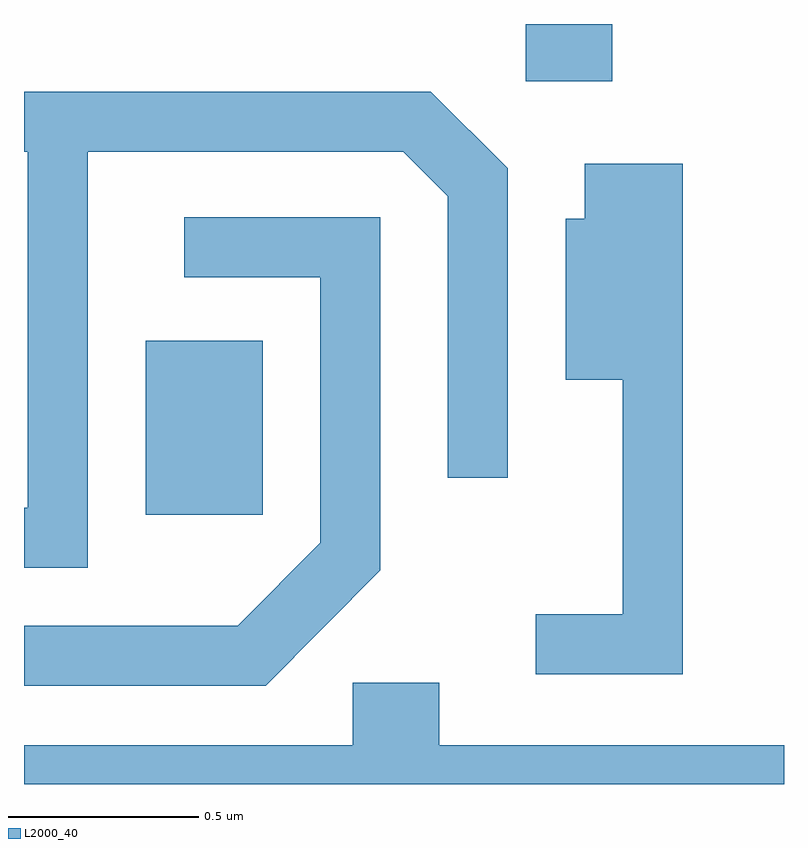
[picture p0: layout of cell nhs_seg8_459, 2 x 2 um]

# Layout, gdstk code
import gdstk
lib = gdstk.Library(unit=1e-6, precision=1e-09)
def R(c, l, rs):  # rectangles x0, y0, x1, y1
    for r in rs: c.add(gdstk.rectangle(r[:2], r[2:], *l))
def P(c, l, *ps):  # polygons
    for p in ps: c.add(gdstk.Polygon(p, *l))
L2000_40 = (2000, 40)

nhs_seg8_459 = lib.new_cell('nhs_seg8_459')
R(nhs_seg8_459, L2000_40, [(188.931,1855.051,189.239,1855.509), (189.931,1856.191,190.159,1856.342)])
P(nhs_seg8_459, L2000_40, [(188.779,1856.006),(189.609,1856.006),(189.726,1855.889),(189.726,1855.148),(189.884,1855.148),(189.884,1855.962),(189.682,1856.164),(188.611,1856.164),(188.611,1856.006),(188.621,1856.006),(188.621,1855.069),(188.611,1855.069),(188.611,1854.911),(188.779,1854.911)],
  [(190.344,1855.974),(190.086,1855.974),(190.086,1855.829),(190.036,1855.829),(190.036,1855.406),(190.186,1855.406),(190.186,1854.789),(189.958,1854.789),(189.958,1854.631),(190.344,1854.631)],
  [(189.549,1854.904),(189.549,1855.834),(189.033,1855.834),(189.033,1855.676),(189.391,1855.676),(189.391,1854.977),(189.174,1854.759),(188.611,1854.759),(188.611,1854.601),(189.247,1854.601)],
  [(190.611,1854.444),(189.704,1854.444),(189.704,1854.609),(189.476,1854.609),(189.476,1854.444),(188.611,1854.444),(188.611,1854.342),(190.611,1854.342)])

lib.write_gds('nhs_seg8_459.gds')
